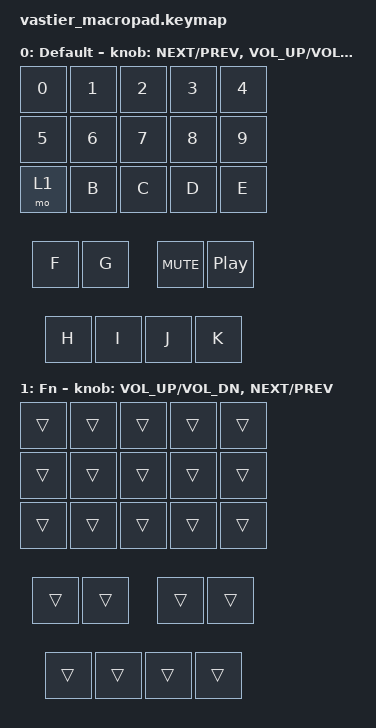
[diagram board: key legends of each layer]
#include <behaviors.dtsi>
#include <dt-bindings/zmk/keys.h>
#include <dt-bindings/zmk/bt.h>


/ {
    keymap {
        compatible = "zmk,keymap";

        default_layer {
            display-name = "Default";
            // Row 1: Keys 1-5
            // Row 2: Keys 6-10
            // Row 3: Keys 11-15
            // Row 4: Col1=Tip, Col2=Ring, Col3=Enc1SW, Col4=Enc2SW
            // Row 5: Pedal 1-4

            bindings = <
                // Row 1 - Macropad keys 0-4
                &kp N0      &kp N1      &kp N2      &kp N3      &kp N4
                // Row 2 - Macropad keys 5-9
                &kp N5      &kp N6      &kp N7      &kp N8      &kp N9
                // Row 3 - Macropad keys 11-15
                &mo 1       &kp B       &kp C       &kp D       &kp E
                // Row 4 - P10 Tip, P10 Ring, Enc1SW, Enc2SW
                &kp F       &kp G       &kp C_MUTE    &kp C_PLAY_PAUSE
                // Row 5 - Pedal 1-4
                &kp H       &kp I       &kp J       &kp K
            >;

            // Encoder 1: Track skip  |  Encoder 2: Volume
            sensor-bindings = <
                &inc_dec_kp C_NEXT C_PREV
                &inc_dec_kp C_VOL_UP C_VOL_DN
            >;
        };

        fn_layer {
            display-name = "Fn";
            bindings = <
                &trans        &trans        &trans        &trans        &trans
                &trans        &trans        &trans        &trans        &trans
                &trans        &trans        &trans        &trans        &trans
                &trans        &trans        &trans        &trans
                &trans        &trans        &trans        &trans
            >;
            sensor-bindings = <
                &inc_dec_kp C_VOL_UP C_VOL_DN
                &inc_dec_kp C_NEXT C_PREV
            >;
        };

        // Extra layers available for ZMK Studio to populate
        extra1 {
            display-name = "Extra 1";
            status = "reserved";
            bindings = <
                &trans  &trans  &trans  &trans  &trans
                &trans  &trans  &trans  &trans  &trans
                &trans  &trans  &trans  &trans  &trans
                &trans  &trans  &trans  &trans
                &trans  &trans  &trans  &trans
            >;
            sensor-bindings = <
                &inc_dec_kp C_VOL_UP C_VOL_DN
                &inc_dec_kp C_NEXT C_PREV
            >;
        };

        extra2 {
            display-name = "Extra 2";
            status = "reserved";
            bindings = <
                &trans  &trans  &trans  &trans  &trans
                &trans  &trans  &trans  &trans  &trans
                &trans  &trans  &trans  &trans  &trans
                &trans  &trans  &trans  &trans
                &trans  &trans  &trans  &trans
            >;
            sensor-bindings = <
                &inc_dec_kp C_VOL_UP C_VOL_DN
                &inc_dec_kp C_NEXT C_PREV
            >;
        };
    };
};
